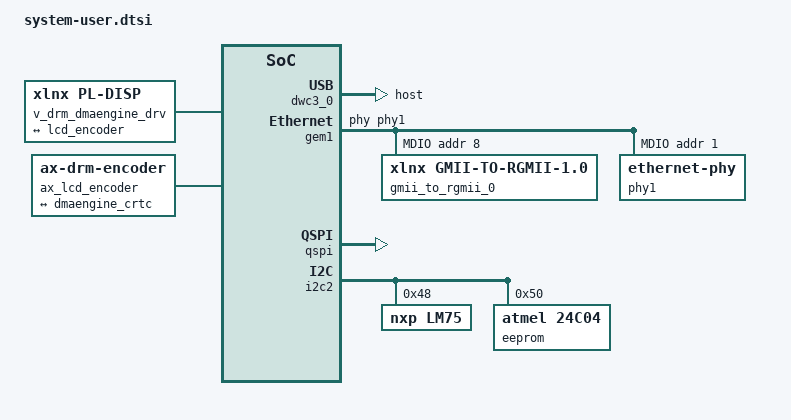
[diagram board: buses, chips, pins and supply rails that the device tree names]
/include/ "system-conf.dtsi"
/ {	
    reserved-memory {
		#address-cells = <2>;
		#size-cells = <2>;
		ranges;
		reserved: buffer@0 {
			reg = <0x0 0x30000000 0x0 0x06000000>; 
		};
	};
};

/* SD */
&sdhci1 {
	disable-wp;
	no-1-8-v;
};

/* USB  */
&dwc3_0 {
	status = "okay";
	dr_mode = "host";
};

&v_tc_0 {
	compatible = "xlnx,bridge-v-tc-6.1";
	xlnx,pixels-per-clock = <1>;
};

&amba {
	v_drm_dmaengine_drv: drm-dmaengine-drv {
		compatible = "xlnx,pl-disp";
		dmas = <&axi_vdma_0 0>;
		dma-names = "dma0";
		xlnx,vformat = "RG24";
		xlnx,bridge = <&v_tc_0>;
		#address-cells = <1>;
		#size-cells = <0>;

		dmaengine_port: port@0 {
			reg = <0>;
			dmaengine_crtc: endpoint {
				remote-endpoint = <&lcd_encoder>;
			};
		};
	};
	ax_lcd_encoder: ax_lcd_encoder  {
		compatible = "ax-drm-encoder";
		ports {
			#address-cells = <1>;
			#size-cells = <0>;
			encoder_lcd_port: port@0 {
				reg = <0>;
				lcd_encoder: endpoint {
					remote-endpoint = <&dmaengine_crtc>;
				};
			};
		};
	};
};

&gem1 {
	phy-handle = <&phy1>;
	psu_ethernet_0_mdio: mdio {
		#address-cells = <1>;
		#size-cells = <0>;
		gmii_to_rgmii_0: gmii_to_rgmii_0@8 {
			compatible = "xlnx,gmii-to-rgmii-1.0";
			phy-handle = <&phy1>;
			reg = <8>;
		};
		phy1: ethernet-phy@1 {
			device_type = "ethernet-phy";
			reg = <1>;
		};
	};
};

&qspi {
        status = "okay";
};

&flash0 {
	is-dual = <0>;
	num-cs = <1>;
	spi-rx-bus-width = <4>;
        spi-tx-bus-width = <4>;
        compatible ="jedec,spi-nor";
        reg= <0x0>;
};

&i2c2 {
	lm75@48 {
			compatible = "nxp,lm75";
			reg = <0x48>;
	};
	eeprom@50{
			compatible = "atmel,24c04";
			reg = <0x50>;
			pagesize = <16>;
	};
};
